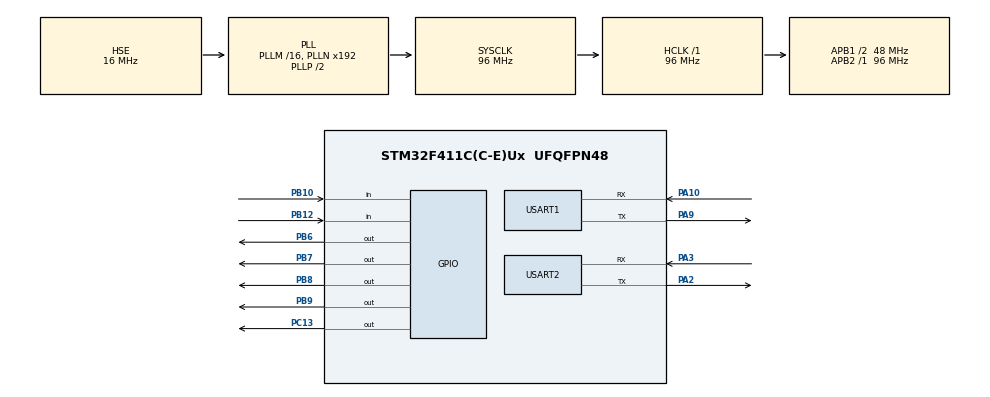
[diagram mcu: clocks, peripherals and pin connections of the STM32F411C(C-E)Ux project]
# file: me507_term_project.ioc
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Mcu.Family=STM32F4
Mcu.Name=STM32F411C(C-E)Ux
Mcu.Package=UFQFPN48
NVIC.PriorityGroup=NVIC_PRIORITYGROUP_4
NVIC.TIM2_IRQn=true\:0\:0\:false\:false\:true\:true\:true\:true
NVIC.USART1_IRQn=true\:0\:0\:false\:false\:true\:true\:true\:true
NVIC.USART2_IRQn=true\:0\:0\:false\:false\:true\:true\:true\:true
PA10.Mode=Asynchronous
PA10.Signal=USART1_RX
PA13.Mode=Trace_Asynchronous_SW
PA13.Signal=SYS_JTMS-SWDIO
PA14.Mode=Trace_Asynchronous_SW
PA14.Signal=SYS_JTCK-SWCLK
PA2.Mode=Asynchronous
PA2.Signal=USART2_TX
PA3.Mode=Asynchronous
PA3.Signal=USART2_RX
PA9.Mode=Asynchronous
PA9.Signal=USART1_TX
PB10.Signal=GPIO_Input
PB12.Signal=GPIO_Input
PB3.Mode=Trace_Asynchronous_SW
PB3.Signal=SYS_JTDO-SWO
PB6.Signal=GPIO_Output
PB7.Signal=GPIO_Output
PB8.Signal=GPIO_Output
PB9.Signal=GPIO_Output
PC13-ANTI_TAMP.Signal=GPIO_Output
PH0\ -\ OSC_IN.Mode=HSE-External-Oscillator
PH0\ -\ OSC_IN.Signal=RCC_OSC_IN
PH1\ -\ OSC_OUT.Mode=HSE-External-Oscillator
PH1\ -\ OSC_OUT.Signal=RCC_OSC_OUT
ProjectManager.HeapSize=0x200
ProjectManager.StackSize=0x400
ProjectManager.TargetToolchain=STM32CubeIDE
RCC.48MHZClocksFreq_Value=48000000
RCC.AHBFreq_Value=96000000
RCC.APB1CLKDivider=RCC_HCLK_DIV2
RCC.APB1Freq_Value=48000000
RCC.APB1TimFreq_Value=96000000
RCC.APB2Freq_Value=96000000
RCC.APB2TimFreq_Value=96000000
RCC.CortexFreq_Value=96000000
RCC.HCLKFreq_Value=96000000
RCC.HSE_VALUE=16000000
RCC.HSI_VALUE=16000000
RCC.LSE_VALUE=32768
RCC.PLLSourceVirtual=RCC_PLLSOURCE_HSE
RCC.SYSCLKFreq_VALUE=96000000
RCC.SYSCLKSource=RCC_SYSCLKSOURCE_PLLCLK
RCC.VCOOutputFreq_Value=192000000
TIM2.Period=2499
TIM2.Prescaler=0
USART1.VirtualMode=VM_ASYNC
USART2.VirtualMode=VM_ASYNC
VP_TIM2_VS_ClockSourceINT.Mode=Internal
board=custom

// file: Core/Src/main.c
/* USER CODE BEGIN Header */
/**
  ******************************************************************************
  * @file           : main.c
  * @brief          : Main program body for CoreXY stepper motor control system
  * @details        : Implements dual UART communication (PC and Raspberry Pi)
  *                   with CoreXY motion control, position commands processing,
  *                   and stepper motor coordination with limit switches.
  * @author         : Kyle Schumacher
  * @date           : Jun 9, 2025
  ******************************************************************************
  * @attention
  *
  * Copyright (c) 2025 STMicroelectronics.
  * All rights reserved.
  *
  * This software is licensed under terms that can be found in the LICENSE file
  * in the root directory of this software component.
  * If no LICENSE file comes with this software, it is provided AS-IS.
  *
  ******************************************************************************
  */
/* USER CODE END Header */
#include "main.h"

/* USER CODE BEGIN Includes */
#include "stm32f4xx_hal.h"
#include "stepper_driver.h"
#include "stepper_manager.h"
#include <string.h>
#include <stdio.h>
#include <stdlib.h>
#include <stdbool.h>

/* USER CODE END Includes */

/* USER CODE BEGIN PD */
StepperMotor motor1;    ///< Motor A for CoreXY system (X+Y movement)
StepperMotor motor2;    ///< Motor B for CoreXY system (X-Y movement)
StepperManager mgr;     ///< High-level motion controller for coordinated moves
/* USER CODE END PD */

TIM_HandleTypeDef htim2;

UART_HandleTypeDef huart1;
UART_HandleTypeDef huart2;

/* USER CODE BEGIN PV */
uint32_t PWM_duty_cycle = 4800;    ///< PWM duty cycle (not currently used)
uint32_t counterValue = 0;         ///< General purpose counter
uint32_t board_dim_x = 285.75;     ///< Physical board dimension X in mm
uint32_t board_dim_y = 487.3;      ///< Physical board dimension Y in mm

#define RX_BUFFER_SIZE 64          ///< UART receive buffer size in bytes
uint8_t uart1_rx_data, uart2_rx_data;  ///< Single byte buffers for UART interrupts
uint8_t uart_rx_data;              ///< Common variable for processing received data
HAL_StatusTypeDef uart_status;     ///< UART operation status
uint8_t uart_rx_buffer[RX_BUFFER_SIZE];  ///< Command assembly buffer
uint8_t uart_rx_index = 0;         ///< Current position in receive buffer
bool new_data = false;             ///< Flag indicating new UART data received

/* USER CODE END PV */

void SystemClock_Config(void);
static void MX_GPIO_Init(void);
static void MX_USART1_UART_Init(void);
static void MX_USART2_UART_Init(void);
static void MX_TIM2_Init(void);

/* USER CODE BEGIN 0 */
char tx_buff[64];           ///< Transmit buffer for UART responses
float max_speed = 4000.0f;  ///< Maximum motor speed in steps/second
float max_accel = 20000.0f; ///< Maximum motor acceleration in steps/second²
/* USER CODE END 0 */

int main(void)
{

  /* MCU Configuration--------------------------------------------------------*/

  /* Reset of all peripherals, Initializes the Flash interface and the Systick. */
  HAL_Init();

  /* Configure the system clock */
  SystemClock_Config();

  /* Initialize all configured peripherals */
  MX_GPIO_Init();
  MX_USART1_UART_Init();
  MX_USART2_UART_Init();
  MX_TIM2_Init();
  /* USER CODE BEGIN 2 */
  StepperMotor_Init(
	  &motor1,
	  GPIOB, GPIO_PIN_8,
	  GPIOB, GPIO_PIN_6,
	  max_speed,
	  max_accel
  );

  StepperMotor_Init(
	  &motor2,
	  GPIOB, GPIO_PIN_9,
	  GPIOB, GPIO_PIN_7,
	  max_speed,
	  max_accel
  );

  float steps_per_mm = 80.0f;
  StepperManager_Init(
		  &mgr,
		  &motor1,
		  &motor2,
		  GPIOB, GPIO_PIN_10, // X limit switch
		  GPIOB, GPIO_PIN_12,	// Y limit switch
		  steps_per_mm,
		  70.0f, // X min soft stop
		  215.0f,	// X max soft stop
		  80.0f,	// Y min soft stop
		  270.0f,	// Y max soft stop
		  5.0f	// Backoff in mm after limit switch
  );

  HAL_TIM_Base_Start_IT(&htim2);

  // TEST
  // Assumes PB6 is already GPIO_Output (no timer ISR involved here).
  // We'll manually pulse STEP at a slow rate so you can see the waveform.

//  {
//      int32_t start_pos_1 = motor1.current_position;
//      int32_t target_pos_1 = start_pos_1 + 1000;
//
//      // Begin nonblocking move:
//      StepperMotor_MoveTo(&motor1, target_pos_1);
//
//      // Wait until motor1 finishes:
//      while (StepperMotor_IsMoving(&motor1)) {
//          // You can put a small delay or toggle an LED here if you like, e.g. HAL_Delay(1).
//          // But since the stepper ISR is in TIM2, we just spin-wait.
//      }
//
//      HAL_Delay(200); // 200 ms pause
//
//      // Move it back to start:
//      StepperMotor_MoveTo(&motor1, start_pos_1);
//      while (StepperMotor_IsMoving(&motor1)) {
//          // spin-wait
//      }
//
//      HAL_Delay(200);
//
//      int32_t start_pos_2 = motor2.current_position;
//      int32_t target_pos_2 = start_pos_2 + 1000;
//
//      // Begin nonblocking move:
//      StepperMotor_MoveTo(&motor2, target_pos_2);
//
//      // Wait until motor1 finishes:
//      while (StepperMotor_IsMoving(&motor2)) {
//          // You can put a small delay or toggle an LED here if you like, e.g. HAL_Delay(1).
//          // But since the stepper ISR is in TIM2, we just spin-wait.
//      }
//
//      HAL_Delay(200); // 200 ms pause
//
//      // Move it back to start:
//      StepperMotor_MoveTo(&motor2, start_pos_2);
//      while (StepperMotor_IsMoving(&motor2)) {
//          // spin-wait
//      }
//
//      HAL_Delay(200);
//  }

  /* USER CODE END 2 */

  /* Infinite loop */
  /* USER CODE BEGIN WHILE */
  HAL_UART_Receive_IT(&huart1, &uart1_rx_data, 1);
  HAL_UART_Receive_IT(&huart2, &uart2_rx_data, 1);
  StepperManager_StartCalibration(&mgr);
  char msg[] = "Hello from STM32!\r\n";
  HAL_UART_Transmit(&huart1, (uint8_t*)msg, strlen(msg), HAL_MAX_DELAY);

  while (1)
  {
	  StepperManager_Update(&mgr);

	  if (new_data == true) {
		  new_data = false;
		  if (uart_rx_data == '\r' || uart_rx_data == '\n') {
			  uart_rx_buffer[uart_rx_index] = '\0';

			  char reply[64];
			  int len = 0;
			  if (uart_rx_buffer[0] == 'M' && uart_rx_index >= 3) {
				  int raw_pos_x = four_ascii_to_int(uart_rx_buffer[1], uart_rx_buffer[2], uart_rx_buffer[3], uart_rx_buffer[4]);
				  int raw_pos_y = four_ascii_to_int(uart_rx_buffer[5], uart_rx_buffer[6], uart_rx_buffer[7], uart_rx_buffer[8]);
				  float pos_x = raw_pos_x / 10.0f;
				  float pos_y = raw_pos_y / 10.0f;

				  // Process movement command - no need to check if IDLE now
				  StepperManager_MoveTo(&mgr, pos_x, pos_y);

				  // Include current state and position in response for debugging
				  char* state_str = "UNKNOWN";
				  if (mgr.state == MANAGER_IDLE) state_str = "IDLE";
				  else if (mgr.state == MANAGER_MOVING) state_str = "MOVING";
				  else if (mgr.state == MANAGER_CALIBRATING) state_str = "CALIBRATING";

				  len = snprintf(reply, sizeof(reply), "MoveTo: X=%0.1f Y=%0.1f State=%s\r\n",
								pos_x, pos_y, state_str);
			  } else {
				  len = snprintf(reply, sizeof(reply), "Invalid cmd format\r\n");
			  }

			  HAL_UART_Transmit(&huart1, (uint8_t*)reply, len, 1000);

			  // Echo input for debugging
			  for (uint16_t i = 0; i < uart_rx_index; ++i) {
				  HAL_UART_Transmit(&huart1,
									(uint8_t*)&uart_rx_buffer[i],
									1,
									1000);
			  }
			  const char *nl = "\r\n";
			  HAL_UART_Transmit(&huart1,
								(uint8_t*)nl,
								2,
								100);

			  uart_rx_index = 0;
		  }
		  else {
			  if (uart_rx_index < RX_BUFFER_SIZE - 1) {
				  uart_rx_buffer[uart_rx_index++] = uart_rx_data;
			  }
		  }
	  }
    /* USER CODE END WHILE */

  }
}

void SystemClock_Config(void)
{
  RCC_OscInitTypeDef RCC_OscInitStruct = {0};
  RCC_ClkInitTypeDef RCC_ClkInitStruct = {0};

  /** Configure the main internal regulator output voltage
  */
  __HAL_RCC_PWR_CLK_ENABLE();
  __HAL_PWR_VOLTAGESCALING_CONFIG(PWR_REGULATOR_VOLTAGE_SCALE1);

  /** Initializes the RCC Oscillators according to the specified parameters
  * in the RCC_OscInitTypeDef structure.
  */
  RCC_OscInitStruct.OscillatorType = RCC_OSCILLATORTYPE_HSE;
  RCC_OscInitStruct.HSEState = RCC_HSE_ON;
  RCC_OscInitStruct.PLL.PLLState = RCC_PLL_ON;
  RCC_OscInitStruct.PLL.PLLSource = RCC_PLLSOURCE_HSE;
  RCC_OscInitStruct.PLL.PLLM = 16;
  RCC_OscInitStruct.PLL.PLLN = 192;
  RCC_OscInitStruct.PLL.PLLP = RCC_PLLP_DIV2;
  RCC_OscInitStruct.PLL.PLLQ = 4;
  if (HAL_RCC_OscConfig(&RCC_OscInitStruct) != HAL_OK)
  {
    Error_Handler();
  }

  /** Initializes the CPU, AHB and APB buses clocks
  */
  RCC_ClkInitStruct.ClockType = RCC_CLOCKTYPE_HCLK|RCC_CLOCKTYPE_SYSCLK
                              |RCC_CLOCKTYPE_PCLK1|RCC_CLOCKTYPE_PCLK2;
  RCC_ClkInitStruct.SYSCLKSource = RCC_SYSCLKSOURCE_PLLCLK;
  RCC_ClkInitStruct.AHBCLKDivider = RCC_SYSCLK_DIV1;
  RCC_ClkInitStruct.APB1CLKDivider = RCC_HCLK_DIV2;
  RCC_ClkInitStruct.APB2CLKDivider = RCC_HCLK_DIV1;

  if (HAL_RCC_ClockConfig(&RCC_ClkInitStruct, FLASH_LATENCY_3) != HAL_OK)
  {
    Error_Handler();
  }
}

static void MX_TIM2_Init(void)
{

  TIM_ClockConfigTypeDef sClockSourceConfig = {0};
  TIM_MasterConfigTypeDef sMasterConfig = {0};

  htim2.Instance = TIM2;
  htim2.Init.Prescaler = 0;
  htim2.Init.CounterMode = TIM_COUNTERMODE_UP;
  htim2.Init.Period = 2499;
  htim2.Init.ClockDivision = TIM_CLOCKDIVISION_DIV1;
  htim2.Init.AutoReloadPreload = TIM_AUTORELOAD_PRELOAD_DISABLE;
  if (HAL_TIM_Base_Init(&htim2) != HAL_OK)
  {
    Error_Handler();
  }
  sClockSourceConfig.ClockSource = TIM_CLOCKSOURCE_INTERNAL;
  if (HAL_TIM_ConfigClockSource(&htim2, &sClockSourceConfig) != HAL_OK)
  {
    Error_Handler();
  }
  sMasterConfig.MasterOutputTrigger = TIM_TRGO_RESET;
  sMasterConfig.MasterSlaveMode = TIM_MASTERSLAVEMODE_DISABLE;
  if (HAL_TIMEx_MasterConfigSynchronization(&htim2, &sMasterConfig) != HAL_OK)
  {
    Error_Handler();
  }

}

static void MX_USART1_UART_Init(void)
{

  huart1.Instance = USART1;
  huart1.Init.BaudRate = 115200;
  huart1.Init.WordLength = UART_WORDLENGTH_8B;
  huart1.Init.StopBits = UART_STOPBITS_1;
  huart1.Init.Parity = UART_PARITY_NONE;
  huart1.Init.Mode = UART_MODE_TX_RX;
  huart1.Init.HwFlowCtl = UART_HWCONTROL_NONE;
  huart1.Init.OverSampling = UART_OVERSAMPLING_16;
  if (HAL_UART_Init(&huart1) != HAL_OK)
  {
    Error_Handler();
  }

}

static void MX_USART2_UART_Init(void)
{

  huart2.Instance = USART2;
  huart2.Init.BaudRate = 115200;
  huart2.Init.WordLength = UART_WORDLENGTH_8B;
  huart2.Init.StopBits = UART_STOPBITS_1;
  huart2.Init.Parity = UART_PARITY_NONE;
  huart2.Init.Mode = UART_MODE_TX_RX;
  huart2.Init.HwFlowCtl = UART_HWCONTROL_NONE;
  huart2.Init.OverSampling = UART_OVERSAMPLING_16;
  if (HAL_UART_Init(&huart2) != HAL_OK)
  {
    Error_Handler();
  }

}

static void MX_GPIO_Init(void)
{
  GPIO_InitTypeDef GPIO_InitStruct = {0};

  /* GPIO Ports Clock Enable */
  __HAL_RCC_GPIOC_CLK_ENABLE();
  __HAL_RCC_GPIOH_CLK_ENABLE();
  __HAL_RCC_GPIOA_CLK_ENABLE();
  __HAL_RCC_GPIOB_CLK_ENABLE();

  /*Configure GPIO pin Output Level */
  HAL_GPIO_WritePin(GPIOC, GPIO_PIN_13, GPIO_PIN_RESET);

  /*Configure GPIO pin Output Level */
  HAL_GPIO_WritePin(GPIOB, GPIO_PIN_6|GPIO_PIN_7|GPIO_PIN_8|GPIO_PIN_9, GPIO_PIN_RESET);

  /*Configure GPIO pin : PC13 */
  GPIO_InitStruct.Pin = GPIO_PIN_13;
  GPIO_InitStruct.Mode = GPIO_MODE_OUTPUT_PP;
  GPIO_InitStruct.Pull = GPIO_NOPULL;
  GPIO_InitStruct.Speed = GPIO_SPEED_FREQ_LOW;
  HAL_GPIO_Init(GPIOC, &GPIO_InitStruct);

  /*Configure GPIO pins : PB10 PB12 */
  GPIO_InitStruct.Pin = GPIO_PIN_10|GPIO_PIN_12;
  GPIO_InitStruct.Mode = GPIO_MODE_INPUT;
  GPIO_InitStruct.Pull = GPIO_NOPULL;
  HAL_GPIO_Init(GPIOB, &GPIO_InitStruct);

  /*Configure GPIO pins : PB6 PB7 PB8 PB9 */
  GPIO_InitStruct.Pin = GPIO_PIN_6|GPIO_PIN_7|GPIO_PIN_8|GPIO_PIN_9;
  GPIO_InitStruct.Mode = GPIO_MODE_OUTPUT_PP;
  GPIO_InitStruct.Pull = GPIO_NOPULL;
  GPIO_InitStruct.Speed = GPIO_SPEED_FREQ_LOW;
  HAL_GPIO_Init(GPIOB, &GPIO_InitStruct);

}

/* USER CODE BEGIN 4 */
/**
 * @brief Timer interrupt callback for stepper motor updates
 * @param htim Pointer to timer handle that triggered the interrupt
 * @details Called automatically by HAL when TIM2 period elapses.
 *          Updates both stepper motors to generate step pulses and
 *          maintain motion profiles. This function runs at high frequency
 *          and should be kept minimal.
 * @note Timer frequency determines maximum step rate and motion smoothness
 */
void HAL_TIM_PeriodElapsedCallback(TIM_HandleTypeDef *htim)
{
	if (htim->Instance == TIM2)
	{
		StepperMotor_Update(&motor1);
		StepperMotor_Update(&motor2);
	}
}

/**
 * @brief UART receive complete interrupt callback
 * @param huart Pointer to UART handle that received data
 * @details Handles incoming data from both UART1 (PC/PuTTY) and UART2 (Raspberry Pi).
 *          Provides echo functionality for PC connection and visual feedback for
 *          Raspberry Pi communication via LED toggle. Automatically re-enables
 *          UART interrupts for continuous reception.
 * @note UART1 data is echoed back to sender for debugging
 * @note UART2 data toggles onboard LED to indicate activity
 * @note Both UARTs share the same processing pipeline via uart_rx_data
 */
void HAL_UART_RxCpltCallback(UART_HandleTypeDef *huart)
{
	if (huart->Instance == USART1) {
		// Data from UART1 (PC/PuTTY)
		new_data = true;
		uart_rx_data = uart1_rx_data;
		HAL_UART_Transmit(&huart1, (uint8_t*)&uart1_rx_data, 1, 1000); // Echo back to UART1
		HAL_UART_Receive_IT(&huart1, &uart1_rx_data, 1); // Re-enable UART1 interrupt
	}
	else if (huart->Instance == USART2) {
		// Data from UART2 (Raspberry Pi)
		new_data = true;
		uart_rx_data = uart2_rx_data;
		HAL_UART_Transmit(&huart1, (uint8_t*)&uart2_rx_data, 1, 1000); // Echo to UART1 for debugging

		// Critical: Start a new receive operation BEFORE processing the data
		// This prevents missing bytes when they come in rapid succession
		HAL_UART_Receive_IT(&huart2, &uart2_rx_data, 1); // Re-enable UART2 interrupt

		// Debug marker to know UART2 is active
		HAL_GPIO_TogglePin(GPIOC, GPIO_PIN_13); // Toggle LED to show UART2 activity
	}
}

/**
 * @brief Convert single hexadecimal character to integer
 * @param c Hexadecimal character ('0'-'9', 'A'-'F', 'a'-'f')
 * @return Integer value (0-15) or undefined for invalid input
 * @note This function doesn't validate input - ensure valid hex chars
 * @warning No bounds checking performed on input
 */
int hex_to_int(uint8_t c) {
	if (c >= 97)
		c = c - 32;
	int first = c / 16 - 3;
	int second = c % 16;
	int result = first*10 + second;
	if (result > 9) result--;
	return result;
}

/**
 * @brief Convert four hexadecimal characters to integer
 * @param num1 First hex digit (most significant)
 * @param num2 Second hex digit
 * @param num3 Third hex digit
 * @param num4 Fourth hex digit (least significant)
 * @return Combined integer value from four hex digits
 * @note Uses hex_to_int() internally for each digit conversion
 * @warning No validation performed on input characters
 */
int four_hex_to_int(uint8_t num1, uint8_t num2, uint8_t num3, uint8_t num4) {
	uint8_t int1 = hex_to_int(num1);
	uint8_t int2 = hex_to_int(num2);
	uint8_t int3 = hex_to_int(num3);
	uint8_t int4 = hex_to_int(num4);

	uint8_t combined = int1 * 1000 + int2 * 100 + int3 * 10 + int4;
	return combined;
}

/**
 * @brief Convert four ASCII decimal characters to integer
 * @param d1 First decimal digit (thousands place)
 * @param d2 Second decimal digit (hundreds place)
 * @param d3 Third decimal digit (tens place)
 * @param d4 Fourth decimal digit (ones place)
 * @return Combined integer value (0-9999) or -1 for invalid input
 * @details Validates each character is a valid decimal digit ('0'-'9')
 *          before performing conversion. Used for parsing position commands.
 * @note Returns -1 if any character is not a valid decimal digit
 * @note Result range is 0-9999 for valid inputs
 */
int four_ascii_to_int(uint8_t d1, uint8_t d2, uint8_t d3, uint8_t d4) {
	if (d1 < '0' || d1 > '9') return -1;
	if (d2 < '0' || d2 > '9') return -1;
	if (d3 < '0' || d3 > '9') return -1;
	if (d4 < '0' || d4 > '9') return -1;

	return (d1 - '0') * 1000 +
	       (d2 - '0') * 100 +
	       (d3 - '0') * 10 +
	       (d4 - '0') * 1;
}
/* USER CODE END 4 */

void Error_Handler(void)
{
  __disable_irq();
  while (1)
  {
  }
}
